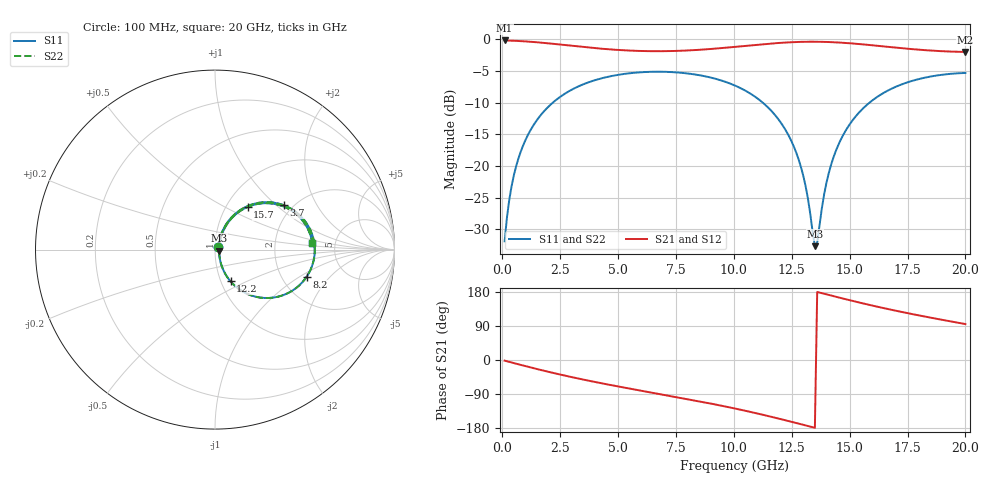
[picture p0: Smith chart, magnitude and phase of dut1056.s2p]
! Touchstone file exported from HFSS 2026.1.0
!  File:  C:/ffzhzh/LocalFiles/Ansys_Project_Files/temp_train_TSV_RDL_1056_1783297506_39728.aedt
!  Generated:  08:36:27 AM Jul  6, 2026
!  Design:  TSV_RDL
!  Project:  temp_train_TSV_RDL_1056_1783297506_39728
! Variables:
!  h_bsmrdl = 2.01um
!  h_ox = 20um
!  h_rdl = 5um
!  h_sub = 82.79um
!  h_tmrdl = 5.27um
!  h_tsv = 82.79um
!  h_via = 3um
!  l_bsmrdl = 346.41um
!  l_sub = 4508.81um
!  l_tmrdl = 732.7um
!  m_sub = 200um
!  pitch = 55.58um
!  r_tsv = 6.64um
!  s_tmrdl = 10um
!  w_bsmrdl = 21.64um
!  w_sub = 500um
!  w_tmrdl = 24.62um
!  x_tsv_center1 = 745.01um
!  x_tsv_center2 = 1113.06um
!  x_tsv_center3 = 1870.38um
!  x_tsv_center4 = 2238.43um
!  x_tsv_center5 = 2995.75um
!  x_tsv_center6 = 3363.8um
# GHz S MA R 50.000000
! Terminal data exported
! Port[1] = TM_RDL1_1_T1
! Port[2] = TM_RDL5_1_T1
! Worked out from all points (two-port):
!   200 points, 100 MHz to 20 GHz, reference 50 ohm
!   highest |S21| = -0.17 dB at 100 MHz (marker M1); lowest = -2.0 dB at 20 GHz (marker M2)
!   |S21| within 3 dB of the highest: start of sweep to end of sweep
!   lowest |S11| = -32.6 dB at 13.5 GHz (marker M3), VSWR 1.05, Z = 52.3 - j0.54 ohm
!   |S11| at or under -10 dB: start of sweep to 2.176 GHz; 11.25 GHz to 15.85 GHz (4.601 GHz wide, 33.9 % of centre)
!   |S22| runs from -32.7 to -5.1 dB; largest |S21 - S12| = 3.4e-14
!   S11 on the Smith chart (normalised r, x): 100 MHz: 1.04, +0.03; 3.7 GHz: 1.80, +1.12; 8.2 GHz: 2.73, -1.15; 12.2 GHz: 1.11, -0.41; 15.7 GHz: 1.25, +0.65; 20 GHz: 3.35, +0.33
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0.1  0.02546 41.1  0.9812 -1.7  0.9812 -1.7  0.02546 41.1
! Gamma 0 0 0 0
! Port Impedance 50 0 50 0
0.3  0.05398 63.2  0.9787 -5.0  0.9787 -5.0  0.05398 63.2
0.5  0.08463 67.5  0.9757 -8.2  0.9757 -8.2  0.08463 67.5
1.1  0.175 64.8  0.9619 -17.7  0.9619 -17.7  0.175 64.8
2.1  0.3074 52.7  0.9269 -32.7  0.9269 -32.7  0.3074 52.7
3.5  0.4423 35.1  0.871 -51.7  0.871 -51.7  0.4423 35.1
3.7  0.4568 32.7  0.8637 -54.2  0.8637 -54.2  0.4568 32.7
6.8  0.5557 -1.5  0.8071 -89.9  0.8071 -89.9  0.5557 -1.5
8.2  0.5327 -16.5  0.8215 -105.5  0.8215 -105.5  0.5327 -16.5
10.1  0.4282 -38.3  0.8752 -128.7  0.8752 -128.7  0.4281 -38.4
12.2  0.1972 -63.9  0.9442 -158.6  0.9442 -158.6  0.1972 -63.9
12.9  0.09804 -67.7  0.9563 -169.4  0.9563 -169.4  0.098 -67.8
13.2  0.05532 -61.4  0.9585 -174.2  0.9585 -174.2  0.05525 -61.5
13.4  0.03042 -40.4  0.9589 -177.3  0.9589 -177.3  0.03033 -40.5
13.5  0.02332 -12.8  0.9587 -178.9  0.9587 -178.9  0.02321 -12.8
13.6  0.02492 22.1  0.9584 179.5  0.9584 179.5  0.02483 22.2
14  0.07389 64.0  0.9548 173.2  0.9548 173.2  0.07387 64.1
14.3  0.1167 66.1  0.95 168.5  0.95 168.5  0.1167 66.1
14.9  0.1999 61.9  0.9356 159.3  0.9356 159.3  0.1999 61.9
15.7  0.2991 52.6  0.9093 147.6  0.9093 147.6  0.2991 52.6
16.7  0.3988 40.4  0.8721 133.9  0.8721 133.9  0.3988 40.3
20  0.5435 3.7  0.7964 94.8  0.7964 94.8  0.5435 3.6
